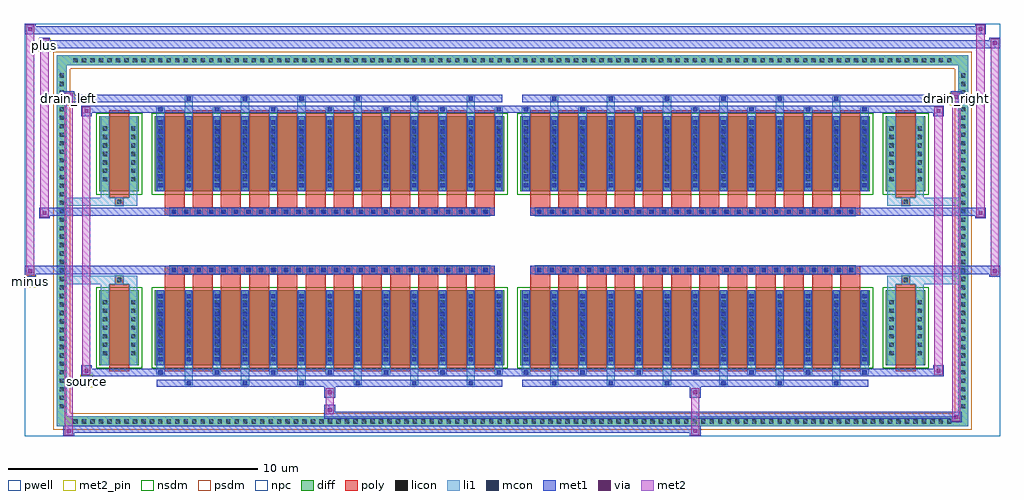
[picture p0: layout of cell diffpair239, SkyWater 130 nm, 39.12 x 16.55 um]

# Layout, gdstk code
import gdstk
lib = gdstk.Library(unit=1e-6, precision=5e-09)
def R(c, l, rs):  # rectangles x0, y0, x1, y1
    for r in rs: c.add(gdstk.rectangle(r[:2], r[2:], *l))
def A(c, l, x, y, w, h, nx, ny, dx, dy):  # array of equal rectangles
    R(c, l, [(x+i*dx, y+j*dy, x+i*dx+w, y+j*dy+h) for i in range(nx) for j in range(ny)])
def P(c, l, *ps):  # polygons
    for p in ps: c.add(gdstk.Polygon(p, *l))
pwell = (64, 44)
diff = (65, 20)
poly = (66, 20)
licon = (66, 44)
li1 = (67, 20)
mcon = (67, 44)
met1 = (68, 20)
via = (68, 44)
met2_pin = (69, 16)
met2 = (69, 20)
nsdm = (93, 44)
psdm = (94, 20)
npc = (95, 20)

diffpair239 = lib.new_cell('diffpair239')
R(diffpair239, pwell, [(-19.54,-7.84,19.54,8.71), (-16.86,-6.03,-0.01,-0.805), (0.01,-6.03,16.86,-0.805), (-16.86,0.805,-0.01,6.03), (0.01,0.805,16.86,6.03)])
A(diffpair239, diff, -17.715, -7.44, 0.41, 0.41, 104, 2, 0.34, 14.47)
A(diffpair239, diff, -18.27, -6.835, 0.41, 0.41, 1, 40, 0, 0.34)
A(diffpair239, diff, 17.86, -6.835, 0.41, 0.41, 1, 40, 0, 0.34)
R(diffpair239, diff, [(-17.715,-7.44,17.715,-7.03), (-18.27,-6.835,-17.86,6.835), (17.86,-6.835,18.27,6.835), (-16.55,-4.985,-14.97,-1.985), (-14.33,-4.985,-0.32,-1.985), (0.32,-4.985,14.33,-1.985), (14.97,-4.985,16.55,-1.985), (-16.55,1.985,-14.97,4.985), (-14.33,1.985,-0.32,4.985), (0.32,1.985,14.33,4.985), (14.97,1.985,16.55,4.985), (-17.715,7.03,17.715,7.44)])
P(diffpair239, diff, [(18.27,7.44),(-18.27,7.44),(-18.27,-7.03),(-17.86,-7.03),(-17.86,7.03),(17.86,7.03),(17.86,-7.03),(-17.86,-7.03),(-18.27,-7.03),(-18.27,-7.44),(18.27,-7.44)])
A(diffpair239, poly, -13.94, -5.235, 0.8, 3.5, 12, 2, 1.13, 6.97)
A(diffpair239, poly, 0.71, -5.235, 0.8, 3.5, 12, 2, 1.13, 6.97)
A(diffpair239, poly, -13.94, -1.735, 0.8, 0.4, 12, 2, 1.13, 3.07)
A(diffpair239, poly, 0.71, -1.735, 0.8, 0.4, 12, 2, 1.13, 3.07)
A(diffpair239, poly, -13.74, -1.335, 0.33, 0.33, 26, 2, 0.5, 2.34)
A(diffpair239, poly, 0.91, -1.335, 0.33, 0.33, 26, 2, 0.5, 2.34)
R(diffpair239, poly, [(-16.16,-5.235,-15.36,-1.735), (15.36,-5.235,16.16,-1.735), (-15.925,-1.735,-15.595,-1.405), (-15.925,-1.735,-15.595,-1.405), (15.595,-1.735,15.925,-1.405), (15.595,-1.735,15.925,-1.405), (-13.94,-1.335,-0.71,-1.005), (0.71,-1.335,13.94,-1.005), (-13.94,1.005,-0.71,1.335), (0.71,1.005,13.94,1.335), (-15.925,1.405,-15.595,1.735), (-15.925,1.405,-15.595,1.735), (15.595,1.405,15.925,1.735), (15.595,1.405,15.925,1.735), (-16.16,1.735,-15.36,5.235), (15.36,1.735,16.16,5.235)])
A(diffpair239, licon, -17.595, -7.32, 0.17, 0.17, 104, 2, 0.34, 14.47)
A(diffpair239, licon, -18.15, -6.715, 0.17, 0.17, 1, 40, 0, 0.34)
A(diffpair239, licon, 17.98, -6.715, 0.17, 0.17, 1, 40, 0, 0.34)
A(diffpair239, licon, -16.41, -4.59, 0.17, 0.17, 1, 7, 0, 0.34)
A(diffpair239, licon, -15.28, -4.59, 0.17, 0.17, 1, 7, 0, 0.34)
A(diffpair239, licon, -14.19, -4.59, 0.17, 0.17, 13, 7, 1.13, 0.34)
A(diffpair239, licon, 0.46, -4.59, 0.17, 0.17, 13, 7, 1.13, 0.34)
A(diffpair239, licon, 15.11, -4.59, 0.17, 0.17, 1, 7, 0, 0.34)
A(diffpair239, licon, 16.24, -4.59, 0.17, 0.17, 1, 7, 0, 0.34)
A(diffpair239, licon, -13.66, -1.255, 0.17, 0.17, 26, 2, 0.5, 2.34)
A(diffpair239, licon, 0.99, -1.255, 0.17, 0.17, 26, 2, 0.5, 2.34)
A(diffpair239, licon, -16.41, 2.38, 0.17, 0.17, 1, 7, 0, 0.34)
A(diffpair239, licon, -15.28, 2.38, 0.17, 0.17, 1, 7, 0, 0.34)
A(diffpair239, licon, -14.19, 2.38, 0.17, 0.17, 13, 7, 1.13, 0.34)
A(diffpair239, licon, 0.46, 2.38, 0.17, 0.17, 13, 7, 1.13, 0.34)
A(diffpair239, licon, 15.11, 2.38, 0.17, 0.17, 1, 7, 0, 0.34)
A(diffpair239, licon, 16.24, 2.38, 0.17, 0.17, 1, 7, 0, 0.34)
R(diffpair239, licon, [(-15.845,-1.655,-15.675,-1.485), (15.675,-1.655,15.845,-1.485), (-15.845,1.485,-15.675,1.655), (15.675,1.485,15.845,1.655)])
A(diffpair239, li1, -17.675, -7.4, 0.33, 0.33, 104, 2, 0.34, 14.47)
A(diffpair239, li1, -18.23, -6.795, 0.33, 0.33, 1, 40, 0, 0.34)
A(diffpair239, li1, 17.9, -6.795, 0.33, 0.33, 1, 40, 0, 0.34)
A(diffpair239, li1, -13.14, -5.79, 0.33, 0.805, 6, 2, 2.26, 10.775)
A(diffpair239, li1, -13.06, -5.79, 0.17, 0.17, 6, 2, 2.26, 11.41)
A(diffpair239, li1, 1.51, -5.79, 0.33, 0.805, 6, 2, 2.26, 10.775)
A(diffpair239, li1, 1.59, -5.79, 0.17, 0.17, 6, 2, 2.26, 11.41)
A(diffpair239, li1, -14.27, -5.36, 0.33, 0.375, 7, 2, 2.26, 10.345)
A(diffpair239, li1, -14.19, -5.36, 0.17, 0.17, 7, 2, 2.26, 10.55)
A(diffpair239, li1, 0.38, -5.36, 0.33, 0.375, 7, 2, 2.26, 10.345)
A(diffpair239, li1, 0.46, -5.36, 0.17, 0.17, 7, 2, 2.26, 10.55)
A(diffpair239, li1, -14.27, -4.985, 0.33, 3, 13, 2, 1.13, 6.97)
A(diffpair239, li1, 0.38, -4.985, 0.33, 3, 13, 2, 1.13, 6.97)
A(diffpair239, li1, -14.19, -4.83, 0.17, 0.17, 13, 8, 1.13, 0.36)
A(diffpair239, li1, -14.19, -4.83, 0.17, 2.69, 13, 2, 1.13, 6.97)
A(diffpair239, li1, 0.46, -4.83, 0.17, 0.17, 13, 8, 1.13, 0.36)
A(diffpair239, li1, 0.46, -4.83, 0.17, 2.69, 13, 2, 1.13, 6.97)
A(diffpair239, li1, -16.49, -4.67, 0.33, 0.33, 1, 7, 0, 0.34)
A(diffpair239, li1, -15.36, -4.67, 0.33, 0.33, 1, 7, 0, 0.34)
A(diffpair239, li1, -14.27, -4.67, 0.33, 0.33, 13, 7, 1.13, 0.34)
A(diffpair239, li1, 0.38, -4.67, 0.33, 0.33, 13, 7, 1.13, 0.34)
A(diffpair239, li1, 15.03, -4.67, 0.33, 0.33, 1, 7, 0, 0.34)
A(diffpair239, li1, 16.16, -4.67, 0.33, 0.33, 1, 7, 0, 0.34)
A(diffpair239, li1, -13.74, -1.335, 0.33, 0.33, 26, 2, 0.5, 2.34)
A(diffpair239, li1, 0.91, -1.335, 0.33, 0.33, 26, 2, 0.5, 2.34)
A(diffpair239, li1, -14.19, 2.14, 0.17, 0.17, 13, 8, 1.13, 0.36)
A(diffpair239, li1, 0.46, 2.14, 0.17, 0.17, 13, 8, 1.13, 0.36)
A(diffpair239, li1, -16.49, 2.3, 0.33, 0.33, 1, 7, 0, 0.34)
A(diffpair239, li1, -15.36, 2.3, 0.33, 0.33, 1, 7, 0, 0.34)
A(diffpair239, li1, -14.27, 2.3, 0.33, 0.33, 13, 7, 1.13, 0.34)
A(diffpair239, li1, 0.38, 2.3, 0.33, 0.33, 13, 7, 1.13, 0.34)
A(diffpair239, li1, 15.03, 2.3, 0.33, 0.33, 1, 7, 0, 0.34)
A(diffpair239, li1, 16.16, 2.3, 0.33, 0.33, 1, 7, 0, 0.34)
R(diffpair239, li1, [(-18.27,-7.44,-17.86,-7.03), (-18.27,-7.44,-17.86,-7.03), (-17.86,-7.44,17.86,-7.03), (17.86,-7.44,18.27,-7.03), (17.86,-7.44,18.27,-7.03), (-18.27,-7.03,-17.86,7.03), (17.86,-7.03,18.27,7.03), (-16.49,-4.985,-16.16,-1.985), (-15.36,-4.985,-15.03,-1.985), (15.03,-4.985,15.36,-1.985), (16.16,-4.985,16.49,-1.985), (-16.49,-1.985,-16.16,-1.405), (-15.36,-1.985,-15.03,-1.405), (15.03,-1.985,15.36,-1.405), (16.16,-1.985,16.49,-1.405), (-18.27,-1.735,-15.925,-1.405), (-16.49,-1.735,-15.925,-1.405), (-15.925,-1.735,-15.595,-1.405), (-15.595,-1.735,-15.03,-1.405), (15.03,-1.735,15.595,-1.405), (15.595,-1.735,15.925,-1.405), (15.595,-1.735,18.27,-1.405), (15.925,-1.735,16.49,-1.405), (-18.27,1.405,-15.925,1.735), (-16.49,1.405,-15.925,1.735), (-16.49,1.405,-16.16,1.985), (-15.925,1.405,-15.595,1.735), (-15.595,1.405,-15.03,1.735), (-15.36,1.405,-15.03,1.985), (15.03,1.405,15.595,1.735), (15.03,1.405,15.36,1.985), (15.595,1.405,15.925,1.735), (15.595,1.405,18.27,1.735), (15.925,1.405,16.49,1.735), (16.16,1.405,16.49,1.985), (-16.49,1.985,-16.16,4.985), (-15.36,1.985,-15.03,4.985), (15.03,1.985,15.36,4.985), (16.16,1.985,16.49,4.985), (-18.27,7.03,-17.86,7.44), (-18.27,7.03,-17.86,7.44), (-17.86,7.03,17.86,7.44), (17.86,7.03,18.27,7.44), (17.86,7.03,18.27,7.44)])
A(diffpair239, mcon, -13.06, -5.79, 0.17, 0.17, 6, 2, 2.26, 11.41)
A(diffpair239, mcon, 1.59, -5.79, 0.17, 0.17, 6, 2, 2.26, 11.41)
A(diffpair239, mcon, -14.19, -5.36, 0.17, 0.17, 7, 2, 2.26, 10.55)
A(diffpair239, mcon, 0.46, -5.36, 0.17, 0.17, 7, 2, 2.26, 10.55)
A(diffpair239, mcon, -14.19, -4.83, 0.17, 0.17, 13, 8, 1.13, 0.36)
A(diffpair239, mcon, 0.46, -4.83, 0.17, 0.17, 13, 8, 1.13, 0.36)
A(diffpair239, mcon, -13.66, -1.255, 0.17, 0.17, 26, 2, 0.5, 2.34)
A(diffpair239, mcon, 0.99, -1.255, 0.17, 0.17, 26, 2, 0.5, 2.34)
A(diffpair239, mcon, -14.19, 2.14, 0.17, 0.17, 13, 8, 1.13, 0.36)
A(diffpair239, mcon, 0.46, 2.14, 0.17, 0.17, 13, 8, 1.13, 0.36)
A(diffpair239, met1, -13.12, -5.85, 0.29, 0.29, 6, 2, 2.26, 11.41)
A(diffpair239, met1, 1.53, -5.85, 0.29, 0.29, 6, 2, 2.26, 11.41)
A(diffpair239, met1, -14.25, -5.42, 0.29, 0.29, 7, 2, 2.26, 10.55)
A(diffpair239, met1, 0.4, -5.42, 0.29, 0.29, 7, 2, 2.26, 10.55)
A(diffpair239, met1, -14.25, -4.985, 0.29, 3, 13, 2, 1.13, 6.97)
A(diffpair239, met1, 0.4, -4.985, 0.29, 3, 13, 2, 1.13, 6.97)
A(diffpair239, met1, -14.25, -4.89, 0.29, 0.29, 13, 8, 1.13, 0.36)
A(diffpair239, met1, 0.4, -4.89, 0.29, 0.29, 13, 8, 1.13, 0.36)
A(diffpair239, met1, -13.72, -1.315, 0.29, 0.29, 26, 2, 0.5, 2.34)
A(diffpair239, met1, 0.93, -1.315, 0.29, 0.29, 26, 2, 0.5, 2.34)
A(diffpair239, met1, -14.25, 2.08, 0.29, 0.29, 13, 8, 1.13, 0.36)
A(diffpair239, met1, 0.4, 2.08, 0.29, 0.29, 13, 8, 1.13, 0.36)
R(diffpair239, met1, [(-18,-7.84,-17.57,-7.41), (7.11,-7.84,7.54,-7.41), (-18,-7.7,7.54,-7.41), (17.57,-7.27,18,-6.84), (-7.54,-7.13,18,-6.84), (-7.54,-6.99,-7.11,-6.56), (-7.54,-6.28,-7.11,-5.85), (7.11,-6.28,7.54,-5.85), (-14.25,-5.85,-0.4,-5.56), (0.4,-5.85,14.25,-5.56), (-17.29,-5.42,-16.86,-4.99), (-17.29,-5.42,-14.25,-5.13), (-14.25,-5.42,-0.4,-5.13), (-0.4,-5.42,0.4,-5.13), (0.4,-5.42,14.25,-5.13), (14.25,-5.42,17.29,-5.13), (16.86,-5.42,17.29,-4.99), (-19.54,-1.435,-19.11,-1.005), (19.11,-1.435,19.54,-1.005), (-19.54,-1.335,-0.71,-1.005), (-13.94,-1.335,-0.71,-1.005), (0.71,-1.335,13.94,-1.005), (0.71,-1.335,19.54,-1.005), (-18.97,0.905,-18.54,1.335), (18.54,0.905,18.97,1.335), (-18.97,1.005,-13.94,1.335), (-13.94,1.005,-0.71,1.335), (0.71,1.005,13.94,1.335), (13.94,1.005,18.97,1.335), (-17.29,4.99,-16.86,5.42), (16.86,4.99,17.29,5.42), (-17.29,5.13,-14.25,5.42), (-14.25,5.13,-0.4,5.42), (-0.4,5.13,0.4,5.42), (0.4,5.13,14.25,5.42), (14.25,5.13,17.29,5.42), (-18,5.56,-17.57,5.99), (-18,5.56,-14.25,5.85), (-14.25,5.56,-0.4,5.85), (0.4,5.56,14.25,5.85), (14.25,5.56,18,5.85), (17.57,5.56,18,5.99), (-18.97,7.71,-18.54,8.14), (-18.97,7.71,-16.86,8.04), (-16.86,7.71,16.86,8.04), (16.86,7.71,19.54,8.04), (19.11,7.71,19.54,8.14), (-19.54,8.28,-19.11,8.71), (-19.54,8.28,-16.86,8.61), (-16.86,8.28,16.86,8.61), (16.86,8.28,18.97,8.61), (18.54,8.28,18.97,8.71)])
R(diffpair239, via, [(-17.86,-7.7,-17.71,-7.55), (7.25,-7.7,7.4,-7.55), (17.71,-7.13,17.86,-6.98), (-7.4,-6.85,-7.25,-6.7), (-7.4,-6.14,-7.25,-5.99), (7.25,-6.14,7.4,-5.99), (-17.15,-5.28,-17,-5.13), (17,-5.28,17.15,-5.13), (-19.4,-1.295,-19.25,-1.145), (19.25,-1.295,19.4,-1.145), (-18.83,1.045,-18.68,1.195), (18.68,1.045,18.83,1.195), (-17.15,5.13,-17,5.28), (17,5.13,17.15,5.28), (-17.86,5.7,-17.71,5.85), (17.71,5.7,17.86,5.85), (-18.83,7.85,-18.68,8), (19.25,7.85,19.4,8), (-19.4,8.42,-19.25,8.57), (18.68,8.42,18.83,8.57)])
R(diffpair239, met2_pin, [(-17.325,-5.87,-16.825,-5.37), (-19.575,-1.885,-19.075,-1.385), (-18.035,5.44,-17.535,5.94), (17.535,5.44,18.035,5.94), (-19.005,7.59,-18.505,8.09)])
R(diffpair239, met2, [(-17.95,-7.79,-17.62,-7.46), (-17.95,-7.79,-17.62,5.94), (7.16,-7.79,7.49,-7.46), (7.16,-7.46,7.49,-6.23), (17.62,-7.22,17.95,-6.89), (17.62,-7.22,17.95,5.94), (-7.49,-6.94,-7.16,-6.61), (-7.49,-6.61,-7.16,-6.23), (-7.49,-6.23,-7.16,-5.9), (7.16,-6.23,7.49,-5.9), (-17.24,-5.37,-16.91,-5.04), (-17.24,-5.37,-16.91,5.37), (16.91,-5.37,17.24,-5.04), (16.91,-5.37,17.24,5.37), (-19.49,-1.385,-19.16,-1.055), (-19.49,-1.385,-19.16,8.66), (19.16,-1.385,19.49,-1.055), (19.16,-1.385,19.49,8.09), (-18.92,0.955,-18.59,1.285), (-18.92,0.955,-18.59,8.09), (18.59,0.955,18.92,1.285), (18.59,0.955,18.92,8.66), (-17.24,5.04,-16.91,5.37), (16.91,5.04,17.24,5.37), (-17.95,5.61,-17.62,5.94), (17.62,5.61,17.95,5.94), (-18.92,7.76,-18.59,8.09), (19.16,7.76,19.49,8.09), (-19.49,8.33,-19.16,8.66), (18.59,8.33,18.92,8.66)])
P(diffpair239, met2, [(19.49,-1.385),(19.49,-1.385),(19.49,-1.055),(19.49,-1.055)],
  [(19.49,7.76),(19.49,7.76),(19.49,8.09),(19.49,8.09)],
  [(-19.16,-1.385),(-19.16,-1.385),(-19.16,-1.055),(-19.16,-1.055)],
  [(-19.16,8.33),(-19.16,8.33),(-19.16,8.66),(-19.16,8.66)],
  [(18.92,0.955),(18.92,0.955),(18.92,1.285),(18.92,1.285)],
  [(18.92,8.33),(18.92,8.33),(18.92,8.66),(18.92,8.66)],
  [(-18.59,0.955),(-18.59,0.955),(-18.59,1.285),(-18.59,1.285)],
  [(-18.59,7.76),(-18.59,7.76),(-18.59,8.09),(-18.59,8.09)],
  [(-17.62,-7.79),(-17.62,-7.79),(-17.62,-7.46),(-17.62,-7.46)],
  [(-17.62,5.61),(-17.62,5.61),(-17.62,5.94),(-17.62,5.94)],
  [(17.95,-7.22),(17.95,-7.22),(17.95,-6.89),(17.95,-6.89)],
  [(17.95,5.61),(17.95,5.61),(17.95,5.94),(17.95,5.94)],
  [(-16.91,-5.37),(-16.91,-5.37),(-16.91,-5.04),(-16.91,-5.04)],
  [(-16.91,5.04),(-16.91,5.04),(-16.91,5.37),(-16.91,5.37)],
  [(17.24,-5.37),(17.24,-5.37),(17.24,-5.04),(17.24,-5.04)],
  [(17.24,5.04),(17.24,5.04),(17.24,5.37),(17.24,5.37)])
R(diffpair239, nsdm, [(-16.68,-5.115,-14.84,-1.855), (-14.46,-5.115,-0.19,-1.855), (0.19,-5.115,14.46,-1.855), (14.84,-5.115,16.68,-1.855), (-16.68,1.855,-14.84,5.115), (-14.46,1.855,-0.19,5.115), (0.19,1.855,14.46,5.115), (14.84,1.855,16.68,5.115)])
P(diffpair239, psdm, [(18.4,7.57),(-18.4,7.57),(-18.4,-6.9),(-17.73,-6.9),(-17.73,6.9),(17.73,6.9),(17.73,-6.9),(-17.73,-6.9),(-18.4,-6.9),(-18.4,-7.57),(18.4,-7.57)])
A(diffpair239, npc, -13.76, -1.355, 0.37, 0.37, 26, 2, 0.5, 2.34)
A(diffpair239, npc, 0.89, -1.355, 0.37, 0.37, 26, 2, 0.5, 2.34)
R(diffpair239, npc, [(-15.945,-1.755,-15.575,-1.385), (15.575,-1.755,15.945,-1.385), (-13.76,-1.355,-12.89,-0.985), (-13.76,-1.355,-12.89,-0.985), (-13.26,-1.355,-12.39,-0.985), (-13.26,-1.355,-12.39,-0.985), (-12.76,-1.355,-11.89,-0.985), (-12.76,-1.355,-11.89,-0.985), (-12.26,-1.355,-11.39,-0.985), (-12.26,-1.355,-11.39,-0.985), (-11.76,-1.355,-10.89,-0.985), (-11.76,-1.355,-10.89,-0.985), (-11.26,-1.355,-10.39,-0.985), (-11.26,-1.355,-10.39,-0.985), (-10.76,-1.355,-9.89,-0.985), (-10.76,-1.355,-9.89,-0.985), (-10.26,-1.355,-9.39,-0.985), (-10.26,-1.355,-9.39,-0.985), (-9.76,-1.355,-8.89,-0.985), (-9.76,-1.355,-8.89,-0.985), (-9.26,-1.355,-8.39,-0.985), (-9.26,-1.355,-8.39,-0.985), (-8.76,-1.355,-7.89,-0.985), (-8.76,-1.355,-7.89,-0.985), (-8.26,-1.355,-7.39,-0.985), (-8.26,-1.355,-7.39,-0.985), (-7.76,-1.355,-6.89,-0.985), (-7.76,-1.355,-6.89,-0.985), (-7.26,-1.355,-6.39,-0.985), (-7.26,-1.355,-6.39,-0.985), (-6.76,-1.355,-5.89,-0.985), (-6.76,-1.355,-5.89,-0.985), (-6.26,-1.355,-5.39,-0.985), (-6.26,-1.355,-5.39,-0.985), (-5.76,-1.355,-4.89,-0.985), (-5.76,-1.355,-4.89,-0.985), (-5.26,-1.355,-4.39,-0.985), (-5.26,-1.355,-4.39,-0.985), (-4.76,-1.355,-3.89,-0.985), (-4.76,-1.355,-3.89,-0.985), (-4.26,-1.355,-3.39,-0.985), (-4.26,-1.355,-3.39,-0.985), (-3.76,-1.355,-2.89,-0.985), (-3.76,-1.355,-2.89,-0.985), (-3.26,-1.355,-2.39,-0.985), (-3.26,-1.355,-2.39,-0.985), (-2.76,-1.355,-1.89,-0.985), (-2.76,-1.355,-1.89,-0.985), (-2.26,-1.355,-1.39,-0.985), (-2.26,-1.355,-1.39,-0.985), (-1.76,-1.355,-0.89,-0.985), (-1.76,-1.355,-0.89,-0.985), (0.89,-1.355,1.76,-0.985), (0.89,-1.355,1.76,-0.985), (1.39,-1.355,2.26,-0.985), (1.39,-1.355,2.26,-0.985), (1.89,-1.355,2.76,-0.985), (1.89,-1.355,2.76,-0.985), (2.39,-1.355,3.26,-0.985), (2.39,-1.355,3.26,-0.985), (2.89,-1.355,3.76,-0.985), (2.89,-1.355,3.76,-0.985), (3.39,-1.355,4.26,-0.985), (3.39,-1.355,4.26,-0.985), (3.89,-1.355,4.76,-0.985), (3.89,-1.355,4.76,-0.985), (4.39,-1.355,5.26,-0.985), (4.39,-1.355,5.26,-0.985), (4.89,-1.355,5.76,-0.985), (4.89,-1.355,5.76,-0.985), (5.39,-1.355,6.26,-0.985), (5.39,-1.355,6.26,-0.985), (5.89,-1.355,6.76,-0.985), (5.89,-1.355,6.76,-0.985), (6.39,-1.355,7.26,-0.985), (6.39,-1.355,7.26,-0.985), (6.89,-1.355,7.76,-0.985), (6.89,-1.355,7.76,-0.985), (7.39,-1.355,8.26,-0.985), (7.39,-1.355,8.26,-0.985), (7.89,-1.355,8.76,-0.985), (7.89,-1.355,8.76,-0.985), (8.39,-1.355,9.26,-0.985), (8.39,-1.355,9.26,-0.985), (8.89,-1.355,9.76,-0.985), (8.89,-1.355,9.76,-0.985), (9.39,-1.355,10.26,-0.985), (9.39,-1.355,10.26,-0.985), (9.89,-1.355,10.76,-0.985), (9.89,-1.355,10.76,-0.985), (10.39,-1.355,11.26,-0.985), (10.39,-1.355,11.26,-0.985), (10.89,-1.355,11.76,-0.985), (10.89,-1.355,11.76,-0.985), (11.39,-1.355,12.26,-0.985), (11.39,-1.355,12.26,-0.985), (11.89,-1.355,12.76,-0.985), (11.89,-1.355,12.76,-0.985), (12.39,-1.355,13.26,-0.985), (12.39,-1.355,13.26,-0.985), (12.89,-1.355,13.76,-0.985), (12.89,-1.355,13.76,-0.985), (-13.76,0.985,-12.89,1.355), (-13.76,0.985,-12.89,1.355), (-13.26,0.985,-12.39,1.355), (-13.26,0.985,-12.39,1.355), (-12.76,0.985,-11.89,1.355), (-12.76,0.985,-11.89,1.355), (-12.26,0.985,-11.39,1.355), (-12.26,0.985,-11.39,1.355), (-11.76,0.985,-10.89,1.355), (-11.76,0.985,-10.89,1.355), (-11.26,0.985,-10.39,1.355), (-11.26,0.985,-10.39,1.355), (-10.76,0.985,-9.89,1.355), (-10.76,0.985,-9.89,1.355), (-10.26,0.985,-9.39,1.355), (-10.26,0.985,-9.39,1.355), (-9.76,0.985,-8.89,1.355), (-9.76,0.985,-8.89,1.355), (-9.26,0.985,-8.39,1.355), (-9.26,0.985,-8.39,1.355), (-8.76,0.985,-7.89,1.355), (-8.76,0.985,-7.89,1.355), (-8.26,0.985,-7.39,1.355), (-8.26,0.985,-7.39,1.355), (-7.76,0.985,-6.89,1.355), (-7.76,0.985,-6.89,1.355), (-7.26,0.985,-6.39,1.355), (-7.26,0.985,-6.39,1.355), (-6.76,0.985,-5.89,1.355), (-6.76,0.985,-5.89,1.355), (-6.26,0.985,-5.39,1.355), (-6.26,0.985,-5.39,1.355), (-5.76,0.985,-4.89,1.355), (-5.76,0.985,-4.89,1.355), (-5.26,0.985,-4.39,1.355), (-5.26,0.985,-4.39,1.355), (-4.76,0.985,-3.89,1.355), (-4.76,0.985,-3.89,1.355), (-4.26,0.985,-3.39,1.355), (-4.26,0.985,-3.39,1.355), (-3.76,0.985,-2.89,1.355), (-3.76,0.985,-2.89,1.355), (-3.26,0.985,-2.39,1.355), (-3.26,0.985,-2.39,1.355), (-2.76,0.985,-1.89,1.355), (-2.76,0.985,-1.89,1.355), (-2.26,0.985,-1.39,1.355), (-2.26,0.985,-1.39,1.355), (-1.76,0.985,-0.89,1.355), (-1.76,0.985,-0.89,1.355), (0.89,0.985,1.76,1.355), (0.89,0.985,1.76,1.355), (1.39,0.985,2.26,1.355), (1.39,0.985,2.26,1.355), (1.89,0.985,2.76,1.355), (1.89,0.985,2.76,1.355), (2.39,0.985,3.26,1.355), (2.39,0.985,3.26,1.355), (2.89,0.985,3.76,1.355), (2.89,0.985,3.76,1.355), (3.39,0.985,4.26,1.355), (3.39,0.985,4.26,1.355), (3.89,0.985,4.76,1.355), (3.89,0.985,4.76,1.355), (4.39,0.985,5.26,1.355), (4.39,0.985,5.26,1.355), (4.89,0.985,5.76,1.355), (4.89,0.985,5.76,1.355), (5.39,0.985,6.26,1.355), (5.39,0.985,6.26,1.355), (5.89,0.985,6.76,1.355), (5.89,0.985,6.76,1.355), (6.39,0.985,7.26,1.355), (6.39,0.985,7.26,1.355), (6.89,0.985,7.76,1.355), (6.89,0.985,7.76,1.355), (7.39,0.985,8.26,1.355), (7.39,0.985,8.26,1.355), (7.89,0.985,8.76,1.355), (7.89,0.985,8.76,1.355), (8.39,0.985,9.26,1.355), (8.39,0.985,9.26,1.355), (8.89,0.985,9.76,1.355), (8.89,0.985,9.76,1.355), (9.39,0.985,10.26,1.355), (9.39,0.985,10.26,1.355), (9.89,0.985,10.76,1.355), (9.89,0.985,10.76,1.355), (10.39,0.985,11.26,1.355), (10.39,0.985,11.26,1.355), (10.89,0.985,11.76,1.355), (10.89,0.985,11.76,1.355), (11.39,0.985,12.26,1.355), (11.39,0.985,12.26,1.355), (11.89,0.985,12.76,1.355), (11.89,0.985,12.76,1.355), (12.39,0.985,13.26,1.355), (12.39,0.985,13.26,1.355), (12.89,0.985,13.76,1.355), (12.89,0.985,13.76,1.355), (-15.945,1.385,-15.575,1.755), (15.575,1.385,15.945,1.755)])
diffpair239.add(gdstk.Label('minus', (-19.325,-1.635), layer=69, texttype=5))
diffpair239.add(gdstk.Label('drain_right', (17.785,5.69), layer=69, texttype=5))
diffpair239.add(gdstk.Label('drain_left', (-17.785,5.69), layer=69, texttype=5))
diffpair239.add(gdstk.Label('source', (-17.075,-5.62), layer=69, texttype=5))
diffpair239.add(gdstk.Label('plus', (-18.755,7.84), layer=69, texttype=5))

lib.write_gds('diffpair239.gds')
